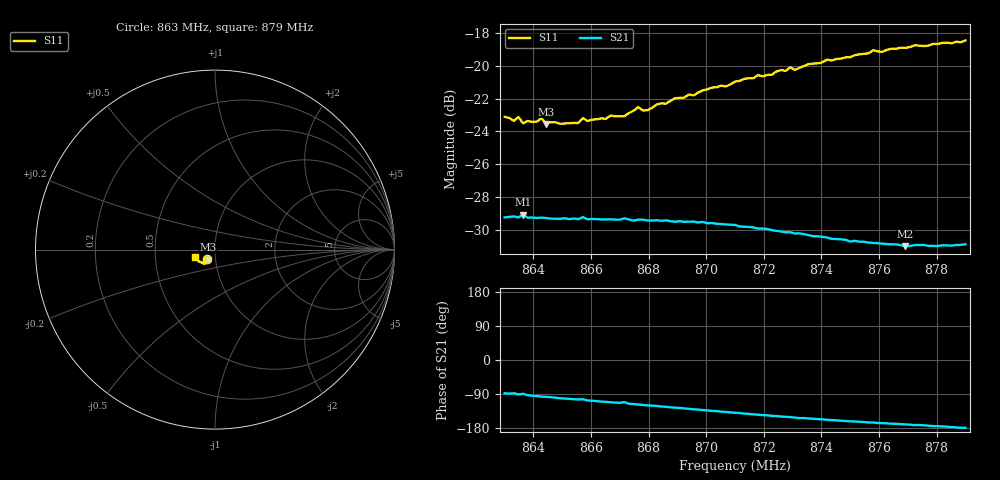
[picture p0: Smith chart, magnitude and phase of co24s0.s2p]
# HZ S RI R 50
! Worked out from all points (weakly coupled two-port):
!   101 points, 863 MHz to 879 MHz, reference 50 ohm
!   highest |S21| = -29.06 dB at 863.64 MHz (marker M1); lowest = -31.0 dB at 876.92 MHz (marker M2)
!   lowest |S11| = -23.5 dB at 864.44 MHz (marker M3), VSWR 1.14, Z = 46.2 - j5.12 ohm
!   |S11| at or under -10 dB: start of sweep to end of sweep
!   S12 and S22 are empty: the file has one direction only
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8.63e8  -0.0432 -0.0549  0.00131 -0.0345  0 0  0 0
8.6332e8  -0.0402 -0.0548  0.00146 -0.0347  0 0  0 0
8.6348e8  -0.0431 -0.0548  -0.000584 -0.0345  0 0  0 0
8.6364e8  -0.0374 -0.0553  0.000521 -0.0352  0 0  0 0
8.638e8  -0.0402 -0.0547  -0.00177 -0.0344  0 0  0 0
8.6412e8  -0.0389 -0.0552  -0.00312 -0.0343  0 0  0 0
8.6428e8  -0.0389 -0.0572  -0.00399 -0.0342  0 0  0 0
8.6444e8  -0.037 -0.0552  -0.00447 -0.0341  0 0  0 0
8.6556e8  -0.0345 -0.0573  -0.00838 -0.0331  0 0  0 0
8.6572e8  -0.0351 -0.0597  -0.0081 -0.0336  0 0  0 0
8.6588e8  -0.0351 -0.0581  -0.00976 -0.0327  0 0  0 0
8.6652e8  -0.0333 -0.0603  -0.0119 -0.0319  0 0  0 0
8.6668e8  -0.0343 -0.0616  -0.0124 -0.0317  0 0  0 0
8.6716e8  -0.0307 -0.0631  -0.0124 -0.032  0 0  0 0
8.6764e8  -0.0358 -0.0657  -0.0157 -0.0302  0 0  0 0
8.6796e8  -0.0351 -0.0642  -0.0168 -0.0294  0 0  0 0
8.6844e8  -0.0366 -0.0675  -0.0182 -0.0284  0 0  0 0
8.71e8  -0.049 -0.0748  -0.0248 -0.0214  0 0  0 0
8.7372e8  -0.0679 -0.0754  -0.0275 -0.0127  0 0  0 0
8.7644e8  -0.0938 -0.0623  -0.028 -0.00595  0 0  0 0
8.7692e8  -0.0971 -0.0582  -0.0278 -0.00493  0 0  0 0
8.79e8  -0.1125 -0.0398  -0.0286 -0.000588  0 0  0 0
